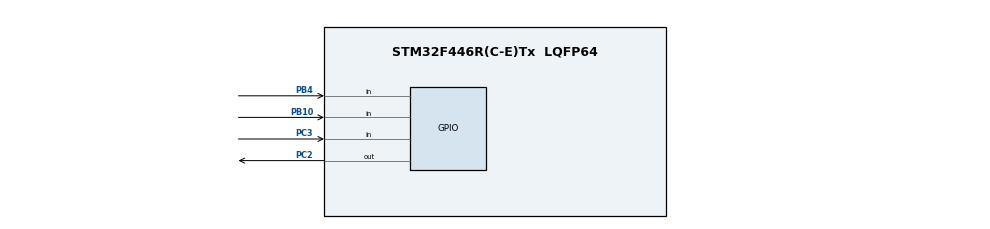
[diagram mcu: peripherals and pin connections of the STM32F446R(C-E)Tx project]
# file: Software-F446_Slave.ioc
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Mcu.Family=STM32F4
Mcu.Name=STM32F446R(C-E)Tx
Mcu.Package=LQFP64
NVIC.PriorityGroup=NVIC_PRIORITYGROUP_4
PB10.Signal=GPIO_Input
PB4.Signal=GPIO_Input
PC2.Signal=GPIO_Output
PC3.Signal=GPIO_Input
ProjectManager.HeapSize=0x200
ProjectManager.StackSize=0x400
ProjectManager.TargetToolchain=MDK-ARM V5.32
RCC.CortexFreq_Value=16000000
RCC.USBFreq_Value=96000000
RCC.VCOOutputFreq_Value=192000000
VP_TIM2_VS_ClockSourceINT.Mode=Internal
board=custom

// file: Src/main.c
/* USER CODE BEGIN Header */
/**
  ******************************************************************************
  * @file           : main.c
  * @brief          : Main program body
  ******************************************************************************
  * @attention
  *
  * Copyright (c) 2024 STMicroelectronics.
  * All rights reserved.
  *
  * This software is licensed under terms that can be found in the LICENSE file
  * in the root directory of this software component.
  * If no LICENSE file comes with this software, it is provided AS-IS.
  *
  ******************************************************************************
  */
/* USER CODE END Header */
#include "main.h"

/* USER CODE BEGIN PV */
volatile uint8_t dataReceive;
volatile uint8_t DataTrans[] = {7, 8, 4, 2};//Data
volatile uint8_t counter=0;
/* USER CODE END PV */

void SystemClock_Config(void);
static void MX_GPIO_Init(void);
static void MX_TIM2_Init(void);
/* USER CODE BEGIN PFP */
void delay_ms(uint32_t timeDelay);
void SPI_SCK_clock_pulse(void);
void SPI_Init(void);
uint8_t SPI_receive();
void SPI_transfer(uint8_t data_out);
/* USER CODE END PFP */

int main(void)
{

  /* MCU Configuration--------------------------------------------------------*/

  /* Reset of all peripherals, Initializes the Flash interface and the Systick. */
  //LL_APB2_GRP1_EnableClock(LL_APB2_GRP1_PERIPH_SYSCFG);
  //LL_APB1_GRP1_EnableClock(LL_APB1_GRP1_PERIPH_PWR);

  /* System interrupt init*/
  //NVIC_SetPriorityGrouping(NVIC_PRIORITYGROUP_4);

  /* SysTick_IRQn interrupt configuration */
  //NVIC_SetPriority(SysTick_IRQn, NVIC_EncodePriority(NVIC_GetPriorityGrouping(),15, 0));

  /* Configure the system clock */
  //SystemClock_Config();

  /* Initialize all configured peripherals */
  MX_GPIO_Init();
  MX_TIM2_Init();
  /* USER CODE BEGIN 2 */
  SPI_Init();
  LL_TIM_EnableCounter(TIM2); // turn on timer
  /* USER CODE END 2 */

  /* Infinite loop */
  while (1)
  {
    /* USER CODE BEGIN 3 */
	counter = 0;
	while (counter <= (sizeof(DataTrans) / sizeof(DataTrans[0])))
	{
		dataReceive = SPI_receive();
		counter++;
	}
	for(uint8_t i = 0; i < (sizeof(DataTrans) / sizeof(DataTrans[0])); i++)
	{
		SPI_transfer(DataTrans[i]);
	}
  }
  /* USER CODE END 3 */
}

void SystemClock_Config(void)
{
  LL_FLASH_SetLatency(LL_FLASH_LATENCY_0);
  while(LL_FLASH_GetLatency()!= LL_FLASH_LATENCY_0)
  {
  }
  LL_PWR_SetRegulVoltageScaling(LL_PWR_REGU_VOLTAGE_SCALE3);
  LL_PWR_DisableOverDriveMode();
  LL_RCC_HSI_SetCalibTrimming(16);
  LL_RCC_HSI_Enable();

   /* Wait till HSI is ready */
  while(LL_RCC_HSI_IsReady() != 1)
  {

  }
  LL_RCC_SetAHBPrescaler(LL_RCC_SYSCLK_DIV_1);
  LL_RCC_SetAPB1Prescaler(LL_RCC_APB1_DIV_1);
  LL_RCC_SetAPB2Prescaler(LL_RCC_APB2_DIV_1);
  LL_RCC_SetSysClkSource(LL_RCC_SYS_CLKSOURCE_HSI);

   /* Wait till System clock is ready */
  while(LL_RCC_GetSysClkSource() != LL_RCC_SYS_CLKSOURCE_STATUS_HSI)
  {

  }
  LL_Init1msTick(16000000);
  LL_SetSystemCoreClock(16000000);
  LL_RCC_SetTIMPrescaler(LL_RCC_TIM_PRESCALER_TWICE);
}

static void MX_TIM2_Init(void)
{

  LL_TIM_InitTypeDef TIM_InitStruct = {0};

  /* Peripheral clock enable */
  LL_APB1_GRP1_EnableClock(LL_APB1_GRP1_PERIPH_TIM2);

  TIM_InitStruct.Prescaler = 1600-1;
  TIM_InitStruct.CounterMode = LL_TIM_COUNTERMODE_UP;
  TIM_InitStruct.Autoreload = 10-1;
  TIM_InitStruct.ClockDivision = LL_TIM_CLOCKDIVISION_DIV1;
  LL_TIM_Init(TIM2, &TIM_InitStruct);
  LL_TIM_DisableARRPreload(TIM2);
  LL_TIM_SetClockSource(TIM2, LL_TIM_CLOCKSOURCE_INTERNAL);
  LL_TIM_SetTriggerOutput(TIM2, LL_TIM_TRGO_RESET);
  LL_TIM_DisableMasterSlaveMode(TIM2);

}

static void MX_GPIO_Init(void)
{
  LL_GPIO_InitTypeDef GPIO_InitStruct = {0};

  /* GPIO Ports Clock Enable */
  LL_AHB1_GRP1_EnableClock(LL_AHB1_GRP1_PERIPH_GPIOC);
  LL_AHB1_GRP1_EnableClock(LL_AHB1_GRP1_PERIPH_GPIOB);

  /**/
  LL_GPIO_ResetOutputPin(GPIOC, LL_GPIO_PIN_2);

  /*MISO*/
  GPIO_InitStruct.Pin = LL_GPIO_PIN_2;
  GPIO_InitStruct.Mode = LL_GPIO_MODE_OUTPUT;
  GPIO_InitStruct.Speed = LL_GPIO_SPEED_FREQ_LOW;
  GPIO_InitStruct.OutputType = LL_GPIO_OUTPUT_PUSHPULL;
  GPIO_InitStruct.Pull = LL_GPIO_PULL_NO;
  LL_GPIO_Init(GPIOC, &GPIO_InitStruct);

  /*MOSI*/
  GPIO_InitStruct.Pin = LL_GPIO_PIN_3;
  GPIO_InitStruct.Mode = LL_GPIO_MODE_INPUT;
  GPIO_InitStruct.Pull = LL_GPIO_PULL_NO;
  LL_GPIO_Init(GPIOC, &GPIO_InitStruct);

  /*PB10-SCK, PB4-SS*/
  GPIO_InitStruct.Pin = LL_GPIO_PIN_10|LL_GPIO_PIN_4;
  GPIO_InitStruct.Mode = LL_GPIO_MODE_INPUT;
  GPIO_InitStruct.Pull = LL_GPIO_PULL_NO;
  LL_GPIO_Init(GPIOB, &GPIO_InitStruct);

}

/* USER CODE BEGIN 4 */
void delay_ms(uint32_t timeDelay)
{
	for (uint32_t i = 0; i < timeDelay; i++)
    {
        LL_TIM_SetCounter(TIM2, 0);
        while (!LL_TIM_IsActiveFlag_UPDATE(TIM2));
        LL_TIM_ClearFlag_UPDATE(TIM2);
    }
}

void SPI_Init(void)
{
	LL_GPIO_ResetOutputPin(GPIOC, LL_GPIO_PIN_2);    // MISO
}
uint8_t SPI_receive()
{
	uint8_t data_in = 0;
	// Cho tin hieu tu Master (CS o muc thap)
    while (LL_GPIO_IsInputPinSet(GPIOB, LL_GPIO_PIN_4));
	// Bat dau nhan du lieu
    for (int i = 0; i < 8; i++)
	{
        // Cho xung clock tu master
        while (!LL_GPIO_IsInputPinSet(GPIOB, LL_GPIO_PIN_10));  // Cho SCK lên cao

        // Ðoc bit tu MOSI
        data_in <<= 1;  // Dich bit nhan vào
        if (LL_GPIO_IsInputPinSet(GPIOC, LL_GPIO_PIN_3))
		{
            data_in |= 0x01;  // Neu MOSI là High, set bit thap nhat
        }

        // Cho SCK xuong thap truoc khi nhan bit tiep theo
        while (LL_GPIO_IsInputPinSet(GPIOB, LL_GPIO_PIN_10));  // Cho SCK xuong thap
    }

    // Sau khi nhan xong 8 bit, Slave se dung lai và doi Master tiep tuc.

    return data_in;  // Tra ve byte du lieu nhan duoc tu Master

}

void SPI_transfer(uint8_t data_out)
{
    // Cho chan SS keo xuong
    while (LL_GPIO_IsInputPinSet(GPIOB, LL_GPIO_PIN_4));
    // Gui du lieu
    for (uint8_t i = 0; i < 8u; i++)
	{
		// Cho chan SCK len cao
		while (!LL_GPIO_IsInputPinSet(GPIOB, LL_GPIO_PIN_10))
			; // SCK high

        // Goi bit cao nhat truoc
        if (data_out & 0x80u)
		{
            LL_GPIO_SetOutputPin(GPIOC, LL_GPIO_PIN_2);  // Set MISO high
        }
		else
		{
            LL_GPIO_ResetOutputPin(GPIOC, LL_GPIO_PIN_2);  // Set MISO low
        }

		data_out <<= 1; // Dich du lieu ve ben trai
        // Cho chan SCK xuong
        while (LL_GPIO_IsInputPinSet(GPIOB, LL_GPIO_PIN_10)); //SCK low
    }

    // Ket thuc giao tiep bang cach cho chan SS len
    while (!LL_GPIO_IsInputPinSet(GPIOB, LL_GPIO_PIN_4));
}
/* USER CODE END 4 */

void Error_Handler(void)
{
  __disable_irq();
  while (1)
  {
  }
}
